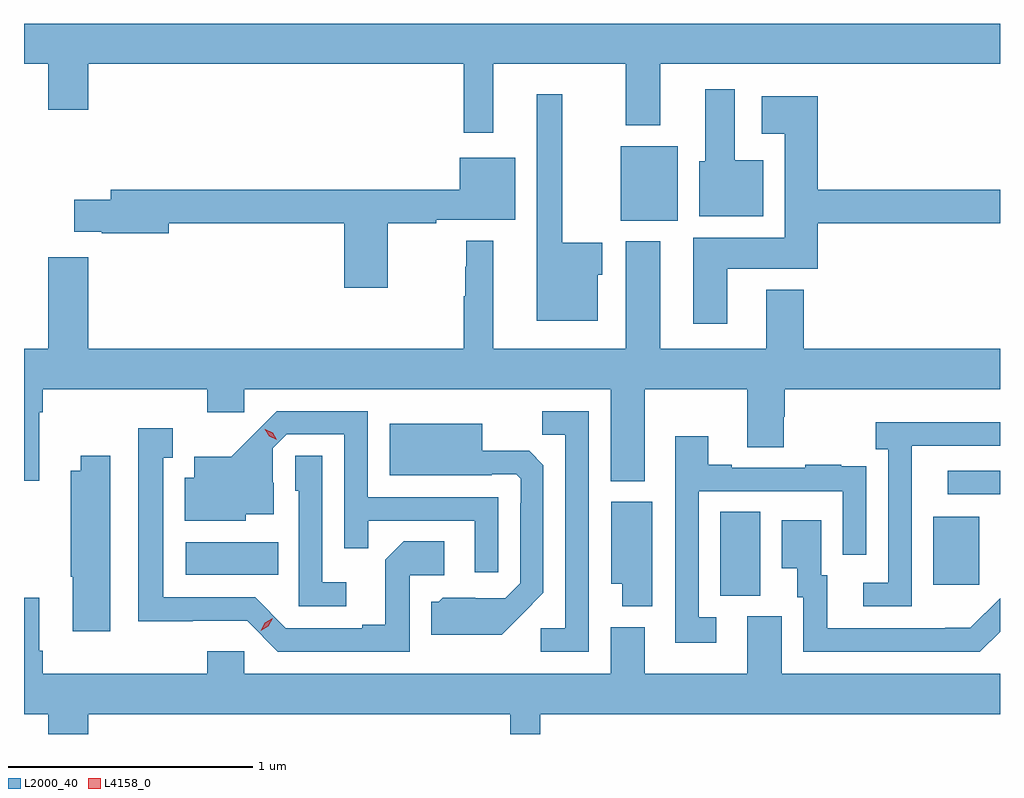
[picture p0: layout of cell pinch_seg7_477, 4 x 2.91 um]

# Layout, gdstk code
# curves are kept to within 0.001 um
import gdstk
lib = gdstk.Library(unit=1e-6, precision=1e-09)
def R(c, l, rs):  # rectangles x0, y0, x1, y1
    for r in rs: c.add(gdstk.rectangle(r[:2], r[2:], *l))
def P(c, l, *ps):  # polygons
    for p in ps: c.add(gdstk.Polygon(p, *l))
L2000_40 = (2000, 40)
L4158_0 = (4158, 0)

pinch_seg7_477 = lib.new_cell('pinch_seg7_477')
R(pinch_seg7_477, L2000_40, [(215.714,1070.365,215.878,1070.708), (216.587,1070.409,216.775,1070.689), (213.522,1070.45,213.902,1070.584), (216.645,1070.781,216.86,1070.877), (215.306,1071.902,215.539,1072.207)])
P(pinch_seg7_477, L2000_40, [(214.783,1072.544),(215.327,1072.544),(215.327,1072.292),(215.467,1072.292),(215.467,1072.544),(216.86,1072.544),(216.86,1072.708),(212.86,1072.708),(212.86,1072.544),(212.96,1072.544),(212.96,1072.356),(213.124,1072.356),(213.124,1072.544),(214.662,1072.544),(214.662,1072.263),(214.783,1072.263)],
  [(215.89,1072.15),(215.773,1072.15),(215.773,1072.441),(215.651,1072.441),(215.651,1072.146),(215.627,1072.146),(215.627,1071.92),(215.89,1071.92)],
  [(215.212,1071.681),(215.23,1071.681),(215.23,1071.812),(215.065,1071.812),(215.065,1072.42),(214.961,1072.42),(214.961,1071.491),(215.212,1071.491)],
  [(215.743,1071.704),(216.113,1071.704),(216.113,1071.892),(216.86,1071.892),(216.86,1072.028),(216.113,1072.028),(216.113,1072.411),(215.883,1072.411),(215.883,1072.259),(215.978,1072.259),(215.978,1071.832),(215.603,1071.832),(215.603,1071.48),(215.743,1071.48)],
  [(214.35,1071.892),(214.55,1071.892),(214.55,1071.905),(214.873,1071.905),(214.873,1072.159),(214.646,1072.159),(214.646,1072.028),(213.215,1072.028),(213.215,1071.987),(213.066,1071.987),(213.066,1071.857),(213.178,1071.857),(213.178,1071.85),(213.454,1071.85),(213.454,1071.892),(214.172,1071.892),(214.172,1071.627),(214.35,1071.627)],
  [(215.404,1071.212),(215.825,1071.212),(215.825,1070.974),(215.973,1070.974),(215.973,1071.099),(215.978,1071.099),(215.978,1071.212),(216.86,1071.212),(216.86,1071.376),(216.056,1071.376),(216.056,1071.619),(215.903,1071.619),(215.903,1071.376),(215.467,1071.376),(215.467,1071.817),(215.327,1071.817),(215.327,1071.376),(214.783,1071.376),(214.783,1071.82),(214.672,1071.82),(214.672,1071.713),(214.669,1071.713),(214.669,1071.593),(214.662,1071.593),(214.662,1071.376),(213.124,1071.376),(213.124,1071.751),(212.96,1071.751),(212.96,1071.376),(212.86,1071.376),(212.86,1070.835),(212.923,1070.835),(212.923,1071.116),(212.936,1071.116),(212.936,1071.212),(213.611,1071.212),(213.611,1071.117),(213.762,1071.117),(213.762,1071.212),(215.264,1071.212),(215.264,1070.834),(215.404,1070.834)],
  [(215.175,1071.12),(214.984,1071.12),(214.984,1071.025),(215.079,1071.025),(215.079,1070.232),(214.977,1070.232),(214.977,1070.136),(215.175,1070.136)],
  [(214.803,1070.769),(214.269,1070.769),(214.269,1071.12),(213.896,1071.12),(213.709,1070.935),(213.557,1070.935),(213.557,1070.848),(213.518,1070.848),(213.518,1070.672),(213.768,1070.672),(213.768,1070.699),(213.883,1070.699),(213.883,1070.828),(213.879,1070.828),(213.879,1070.97),(213.936,1071.027),(214.173,1071.027),(214.173,1070.56),(214.271,1070.56),(214.271,1070.673),(214.707,1070.673),(214.707,1070.46),(214.803,1070.46)],
  [(216.498,1070.979),(216.86,1070.979),(216.86,1071.076),(216.351,1071.076),(216.351,1070.966),(216.402,1070.966),(216.402,1070.418),(216.3,1070.418),(216.3,1070.322),(216.498,1070.322)],
  [(214.897,1070.285),(214.989,1070.378),(214.989,1070.9),(214.93,1070.959),(214.738,1070.959),(214.738,1071.07),(214.358,1071.07),(214.358,1070.858),(214.778,1070.858),(214.778,1070.862),(214.878,1070.862),(214.896,1070.844),(214.896,1070.744),(214.893,1070.744),(214.893,1070.415),(214.833,1070.355),(214.576,1070.356),(214.56,1070.34),(214.529,1070.34),(214.529,1070.204),(214.817,1070.204)],
  [(214.44,1070.448),(214.582,1070.448),(214.582,1070.588),(214.417,1070.588),(214.341,1070.512),(214.341,1070.245),(214.247,1070.245),(214.247,1070.232),(213.933,1070.232),(213.807,1070.358),(213.43,1070.358),(213.43,1070.931),(213.469,1070.931),(213.469,1071.052),(213.329,1071.052),(213.329,1070.261),(213.774,1070.262),(213.9,1070.136),(214.44,1070.136)],
  [(215.698,1070.277),(215.625,1070.277),(215.625,1070.793),(216.216,1070.793),(216.216,1070.532),(216.312,1070.532),(216.312,1070.786),(216.311,1070.786),(216.311,1070.895),(216.209,1070.895),(216.209,1070.902),(216.061,1070.902),(216.061,1070.889),(215.761,1070.889),(215.761,1070.902),(215.665,1070.902),(215.665,1071.019),(215.529,1071.019),(215.529,1070.172),(215.698,1070.172)],
  [(214.18,1070.419),(214.083,1070.419),(214.083,1070.939),(213.972,1070.939),(213.972,1070.796),(213.987,1070.796),(213.987,1070.322),(214.18,1070.322)],
  [(213.214,1070.938),(213.092,1070.938),(213.092,1070.878),(213.052,1070.878),(213.052,1070.443),(213.059,1070.443),(213.059,1070.22),(213.214,1070.22)],
  [(215.434,1070.749),(215.267,1070.749),(215.267,1070.414),(215.312,1070.414),(215.312,1070.321),(215.434,1070.321)],
  [(216.86,1070.218),(216.86,1070.354),(216.739,1070.233),(216.151,1070.232),(216.151,1070.448),(216.127,1070.448),(216.127,1070.674),(215.966,1070.674),(215.966,1070.477),(216.029,1070.477),(216.029,1070.358),(216.054,1070.358),(216.054,1070.136),(216.778,1070.136)],
  [(213.762,1070.137),(213.611,1070.137),(213.611,1070.044),(212.936,1070.044),(212.936,1070.14),(212.923,1070.14),(212.923,1070.356),(212.86,1070.356),(212.86,1069.88),(212.96,1069.88),(212.96,1069.798),(213.124,1069.798),(213.124,1069.88),(214.853,1069.88),(214.853,1069.798),(214.975,1069.798),(214.975,1069.88),(216.86,1069.88),(216.86,1070.044),(215.965,1070.044),(215.965,1070.28),(215.825,1070.28),(215.825,1070.044),(215.404,1070.044),(215.404,1070.236),(215.264,1070.236),(215.264,1070.044),(213.762,1070.044)])
P(pinch_seg7_477, L4158_0, [(213.896,1071.004),(213.865,1071.019),(213.847,1071.048),(213.847,1071.048),(213.848,1071.048),(213.879,1071.033),(213.896,1071.004),(213.896,1071.004)],
  [(213.83,1070.221),(213.83,1070.222),(213.847,1070.254),(213.879,1070.272),(213.879,1070.272),(213.879,1070.272),(213.862,1070.24),(213.83,1070.221)])

lib.write_gds('pinch_seg7_477.gds')
